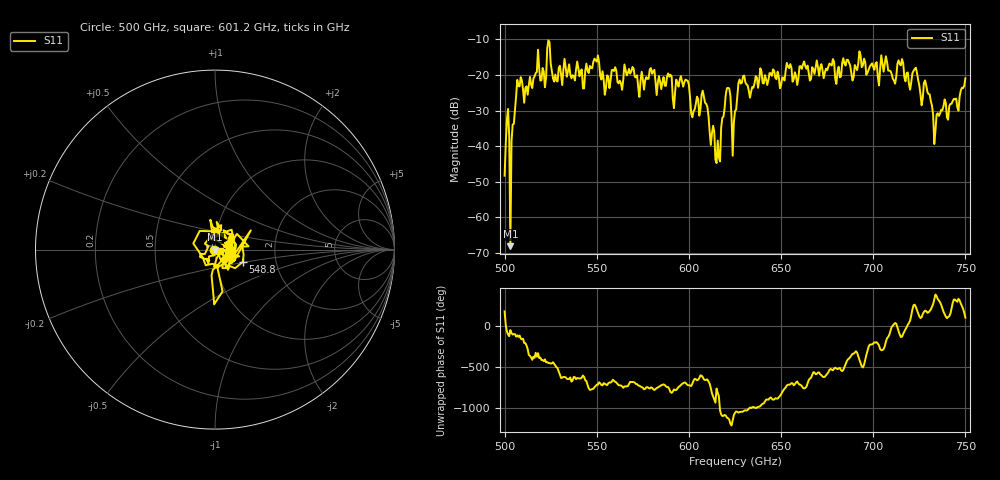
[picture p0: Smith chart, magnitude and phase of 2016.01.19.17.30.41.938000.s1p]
!Created with skrf (http://scikit-rf.org).
# GHz S RI R 50.0
!freq ReS11 ImS11
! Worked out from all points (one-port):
!   401 points, 500 GHz to 750 GHz, reference 50 ohm
!   lowest |S11| = -68.1 dB at 503.1 GHz (marker M1), VSWR 1.00, Z = 50 - j0.0311 ohm
!   |S11| at or under -10 dB: start of sweep to end of sweep
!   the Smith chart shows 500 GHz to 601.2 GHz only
!   S11 on the Smith chart (normalised r, x): 500 GHz: 0.99, +0.00; 548.8 GHz: 1.35, -0.19; 601.2 GHz: 1.06, -0.01
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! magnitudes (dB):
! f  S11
! 500 GHz  -48.3
! 501.2 GHz  -32.6
! 503.1 GHz  -68.1
! 504.4 GHz  -33.9
! 505.6 GHz  -29.8
! 508.1 GHz  -23.2
! 521.2 GHz  -19.1
! 524.4 GHz  -10.8
! 527.5 GHz  -19.9
! 531.2 GHz  -22.8
! 548.8 GHz  -15.4
! 562.5 GHz  -21.6
! 593.8 GHz  -22.2
! 598.8 GHz  -21.5
! 601.2 GHz  -30.9
! 608.1 GHz  -26.2
! 615.6 GHz  -38.4
! 620.6 GHz  -23.7
! 625 GHz  -30.2
! 628.8 GHz  -22.2
! 656.2 GHz  -21.9
! 687.5 GHz  -17.3
! 711.2 GHz  -21.6
! 715 GHz  -17.3
! 718.8 GHz  -19.3
! 728.8 GHz  -22.9
! 734.4 GHz  -31.1
! 750 GHz  -20.9
